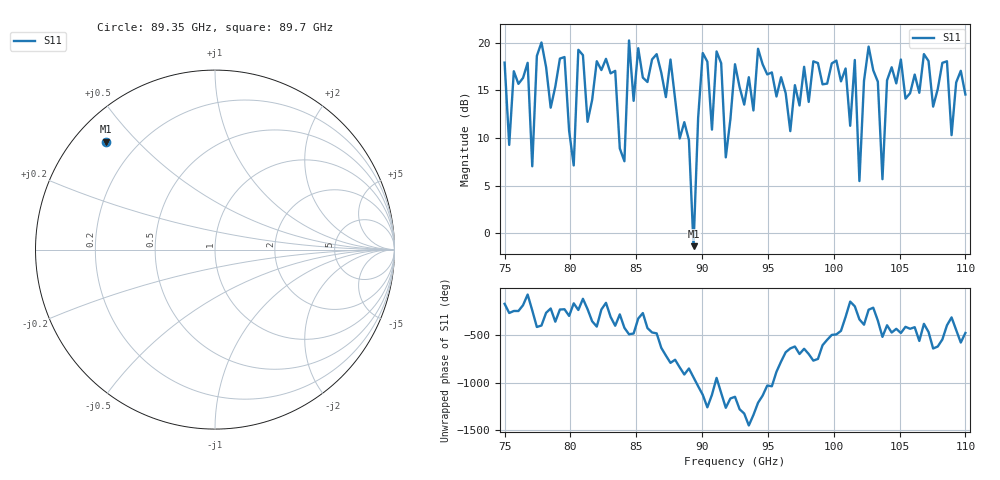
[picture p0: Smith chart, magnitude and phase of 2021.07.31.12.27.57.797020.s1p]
!Created with skrf (http://scikit-rf.org).
# GHz S RI R 50.0
!freq ReS11 ImS11
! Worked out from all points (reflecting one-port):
!   101 points, 75 GHz to 110 GHz, reference 50 ohm
!   lowest |S11| = -1.4 dB at 89.35 GHz (marker M1), VSWR 12.61, Z = 4.63 + j20.5 ohm
!   phase of S11 starts at -174 deg and turns -305 deg over the sweep
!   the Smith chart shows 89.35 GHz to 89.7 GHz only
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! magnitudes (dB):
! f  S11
! 75 GHz  17.9
! 75.35 GHz  9.3
! 76.75 GHz  17.9
! 77.1 GHz  7.0
! 77.45 GHz  18.6
! 79.55 GHz  18.5
! 80.25 GHz  7.1
! 80.6 GHz  19.3
! 83.75 GHz  8.9
! 84.1 GHz  7.6
! 84.45 GHz  20.3
! 88.3 GHz  9.9
! 89 GHz  9.8
! 89.35 GHz  -1.4
! 90.05 GHz  18.9
! 90.75 GHz  10.9
! 91.45 GHz  17.9
! 91.8 GHz  8.0
! 92.5 GHz  17.8
! 97.05 GHz  15.6
! 101.2 GHz  11.3
! 101.6 GHz  18.2
! 102 GHz  5.5
! 102.7 GHz  19.6
! 103.7 GHz  5.7
! 104 GHz  16.1
! 105.8 GHz  14.7
! 110 GHz  14.6
